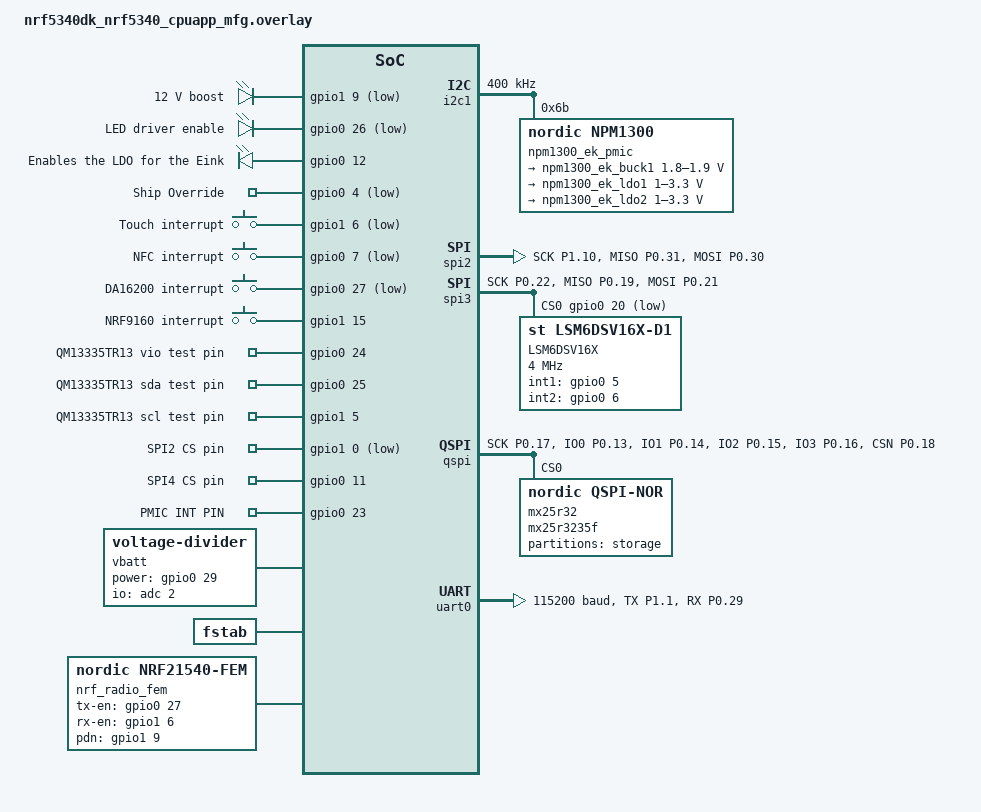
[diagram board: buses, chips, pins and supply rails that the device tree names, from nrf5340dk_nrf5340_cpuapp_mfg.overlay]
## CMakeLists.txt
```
# Copyright (c) 2024, Nestle Purina Pet Care. All rights reserved
# SPDX-License-Identifier: LicenseRef-Proprietary

cmake_minimum_required(VERSION 3.20.0)

set(DTC_OVERLAY_FILE ./nrf5340dk_nrf5340_cpuapp_mfg.overlay)

add_compile_options(-Werror)

get_filename_component(APPLICATION_PROJECT_DIR
    ${CMAKE_CURRENT_LIST_DIR}/..
    ABSOLUTE
)

list(APPEND CONF_FILE prj.conf)

if (EXISTS prj.local.conf)
  list(APPEND CONF_FILE prj.local.conf)
endif()
if (CONFIG_RELEASE_BUILD)
  message("Doing a RELEASE build")
  list(APPEND CONF_FILE prj.release.conf)
endif()
message("CONF_FILE=${CONF_FILE}")
list(APPEND BOARD_ROOT ${APPLICATION_PROJECT_DIR})
list(APPEND DTS_ROOT ${APPLICATION_PROJECT_DIR})
message("ADDING BOARD_ROOT=${BOARD_ROOT}")
message("ADDING DTS_ROOT=${DTS_ROOT}")

list(APPEND EXTRA_ZEPHYR_MODULES ${APPLICATION_PROJECT_DIR}/lib/drivers)
message("MODULES=${EXTRA_ZEPHYR_MODULES}")

find_package(Zephyr REQUIRED HINTS $ENV{ZEPHYR_BASE})


project(commercial_collar VERSION 1.21.0)

zephyr_library_include_directories(src/include)
target_sources(app PRIVATE src/main.c src/pm_shell.c src/shell.c src/nrf53_upgrade.c src/self_check.c src/d1_time.c)
target_sources_ifdef(CONFIG_RELEASE_BUILD app PRIVATE src/login.c)
add_subdirectory(../c_modules/fqueue ./build/c_modules/fqueue)
add_subdirectory(../c_modules/pmic ./build/c_modules/pmic)
add_subdirectory(../c_modules/modem ./build/c_modules/modem)
add_subdirectory(src/wifi)
add_subdirectory(../c_modules/watchdog ./build/c_modules/watchdog)
add_subdirectory(src/ble)
add_subdirectory(../c_modules/imu ./build/c_modules/imu)
add_subdirectory(../c_modules/json ./build/c_modules/json)
add_subdirectory(../c_modules/tde ./build/c_modules/tde)
add_subdirectory(../c_modules/uicr ./build/c_modules/uicr)
add_subdirectory(../c_modules/utils ./build/c_modules/utils)
add_subdirectory(src/storage)
add_subdirectory(src/ml)
add_subdirectory(src/comm_mgr)
add_subdirectory(src/zbus)


add_definitions(-DAPP_VERSION_MAJOR_CMAKE=${PROJECT_VERSION_MAJOR})
add_definitions(-DAPP_VERSION_MINOR_CMAKE=${PROJECT_VERSION_MINOR})
add_definitions(-DAPP_VERSION_PATCH_CMAKE=${PROJECT_VERSION_PATCH})

# Get the current Git commit hash
execute_process(
  COMMAND git rev-parse --short=6 HEAD
  WORKING_DIRECTORY ${CMAKE_SOURCE_DIR}
  OUTPUT_VARIABLE GIT_HASH
  OUTPUT_STRIP_TRAILING_WHITESPACE
)

# Check if the repository is dirty
execute_process(
  COMMAND git status --porcelain -uno
  WORKING_DIRECTORY ${CMAKE_SOURCE_DIR}
  OUTPUT_VARIABLE GIT_DIRTY_STATUS
  OUTPUT_STRIP_TRAILING_WHITESPACE
)

# Append '-dirty' to the version string if the repository is dirty
if(NOT GIT_DIRTY_STATUS STREQUAL "")
  set(GIT_HASH "${GIT_HASH}-dirty")
endif()

add_definitions(-DGIT_HASH_CMAKE=\"${GIT_HASH}\")

# Get the build machine name
execute_process(
  COMMAND hostname
  OUTPUT_VARIABLE BUILD_MACHINE
  OUTPUT_STRIP_TRAILING_WHITESPACE
)

# Get the build date
string(TIMESTAMP BUILD_DATE "%Y-%m-%d %H:%M:%S")

# Pass the variables to the code
add_definitions(-DBUILD_MACHINE_CMAKE=\"${BUILD_MACHINE}\")
add_definitions(-DBUILD_DATE_CMAKE=\"${BUILD_DATE}\")
```

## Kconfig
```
# Copyright (c) 2024, Nestle Purina Pet Care. All rights reserved
# SPDX-License-Identifier: LicenseRef-Proprietary
#
# This file is the application Kconfig entry point. All application Kconfig
# options can be defined here or included via other application Kconfig files.
# You can browse these options using the west targets menuconfig (terminal) or
# guiconfig (GUI).

menu "Zephyr"
source "Kconfig.zephyr"
endmenu

module = bringup
module-str = bringup
source "subsys/logging/Kconfig.template.log_config"

# FIXME: we occasionally get a stack overflow on reboot.
# This param is not configurable in prj.conf but we can change it here.
config BT_LONG_WQ_STACK_SIZE
    int "Long workqueue stack size"
    default 2000

config ENABLE_RFFE_TO_QM13335TR13
    bool "enable RFFE communication to QM13335TR13"
    default false
    help
        Enable RFFE communication to QM13335TR13

config CULVERT_LOCATION_DEMO_MODE
    bool "Send battery and SSIDS to the nrf9160"
    default false
    help
        Send battery and SSIDS to the nrf9160

config IOT_BROKER_HOST_NAME
	string "AWS IoT Broker Host Name"
	default "a3hoon64f0fuap-ats.iot.eu-west-1.amazonaws.com"
	help
        The AWS IoT broker host name, defaults to staging

config IOT_MQTT_BRAND_ID
	int "purina assigned brand id"
	default 35

config IOT_MQTT_REGION_ID
	string "purina assigned region id"
	default "US"

config IOT_MAX_TOPIC_LENGTH
	int "Maximum topic length"
	default 43

config IOT_MAX_TOPIC_NUM
	int "Maximum number of topics"
	default 9

config MODEM_GNSS_LNA_COMMAND
    string "Modem GNSS LNA command"
    default "at%XCOEX0=1,1,1570,1580"
    help
        Modem GNSS LNA command

config IOT_SEND_TELEMETRY_TIMEOUT
    int "IOT Send Telemetry Timeout"
    default 300
    help
        IOT Send Telemetry Timeout

config IOT_ENABLE_SEND_TELEMETRY
    int "IOT Send Telemetry on boot"
    default 0
    help
        IOT Send Telemetry enable

config MAX_MQTT_MSG_SIZE
    int "Max MQTT message size"
    default 1980

config RUN_FREE_MEMORY_CHECK
    int "memory check every 10 sec"
    default 0

config SPI_SEND_BUFFER_MAX_SIZE
    int "SPI send buffer max size"
    default 6144

config SPI_RECEIVE_BUFFER_MAX_SIZE
    int "SPI receive buffer max size"
    default 3072

config ENABLE_FOTA_ON_USB_CONNECTION
    int "Enable FOTA on USB connection"
    default 1

config REBOOT_ON_USB_CONNECT_TIME_IN_SECONDS
    int "Reboot on USB connect time"
    default 30

config MAX_GPS_DATA_POINTS
    int "Max GPS data points"
    default 32

config GPS_DATA_PERIOD
    int "GPS data period"
    default 5

config GPS_ENABLED_ON_BOOT
    int "GPS enabled on boot"
    default 0

config MAX_TELEMETRY_LOG_MSG_SIZE
    int "Max telemetry log size (per message)"
    default 256

config MAX_TELEMETRY_LOG_FIFO_SIZE
    int "Max telemetry log fifo count"
    default 32

config MAX_OPERATIONAL_BATTERY_TEMP
    int "go into shiphold if temp is above this value. (value is divided by 10 in code)"
    default 590

config MIN_OPERATIONAL_BATTERY_TEMP
    int "go into shiphold if temp is below this value. (value is divided by 10 in code)"
    default -100

config MAX_ALERT_BATTERY_TEMP
    int "Issue alert if temp is above this value. (In tenths of a degree C)"
    default 330

config MIN_ALERT_BATTERY_TEMP
    int "Issue alert if temp is below this value. (In tenths of a degree C)"
    default 0


config MIN_VOLTAGE_FOR_9160
    int "Minimum voltage for 9160 (value is divided by 10 in code)"
    default 33

config MIN_VOLTAGE_FOR_5340
    int "Minimum voltage for 5340 (value is divided by 10 in code)"
    default 30

config NRF9160_ENABLE_ON_BOOT
    int "NRF9160 enabled on boot"
    default 0

config IOT_S_NORM_DEFAULT
    int "Period between SSID scans in seconds in normal mode"
    default 300
    help
        Period between SSID scans in seconds in normal mode

config IOT_S_FMD_DEFAULT
    int "Period between SSID scans in seconds in FMD mode"
    default 30
    help
        Period between SSID scans in seconds in FMD mode

config IOT_T_NORM_DEFAULT
    int "Number of SSID scan periods before sending Telemetry in normal mode"
    default 1
    help
        Number of SSID scan periods before sending Telemetry in normal mode

config IOT_T_FMD_DEFAULT
    int "Number of SSID scan periods before sending Telemetry in FMD mode"
    default 1
    help
        Number of SSID scan periods before sending Telemetry in FMD mode

config IOT_REC_VAR_DEFAULT
    int "The number of seconds between attampts to reconnect to wifi"
    default 300
    help
        The number of seconds between attampts to reconnect to wifi

config IOT_Q_VAR_DEFAULT
    int "The number of seconds between attampts to send any unsent mqtt msgs"
    default 2
    help
        The number of seconds between attampts to send any unsent mqtt msgs

config WIFI_AFTER_SLEEP_WAIT_DEFAULT
    int "The number of milliseconds after we sleep the DA do we wait for it to fall asleep"
    default 500
    help
        The number of milliseconds after we sleep the DA do we wait for it to fall asleep

config IOT_DISABLE_S_WORK_DEFAULT
    int "disable the CommMgr scan for SSID, send Telemetry, Do Wifi reconnect on boot"
    default 0
    help
        "disable the CommMgr scan for SSID, send Telemetry, Do Wifi reconnect on boot

config IOT_DISABLE_Q_WORK_DEFAULT
    int "disable the CommMgr sending of queued MQTT messages at boot"
    default 0
    help
        "disable the CommMgr scan for SSID, send Telemetry, Do Wifi reconnect on boot

config RADIO_MGR_ENABLED_ON_BOOT
    int "Radio Mgr enabled on boot"
    default 1

config RADIO_MGR_SLEEP_ENABLED
    int "Radio Mgr use dpm/sleep"
    default 1

config DEBUG_WIFI_HEAP
    int "Show alloc and free for Wifi Heap"
    default 0

config DISABLE_UART_TIME
    int "Disable UART after a period"
    default 30
    help
        Automatically disable the console after n seconds

config ML_ENABLE
    bool "Enable ML"
    default y
    help
      Enable the ML module and suport code.
if ML_ENABLE
config ML_TEST
    bool "Include ML test vectors"
    help
      Include the (large) test vectors for ML and the ml test command

config ML_CAPTURE_IMU_DATA
    bool "Record raw imu data as it is fed to ML"
    help
      Create 1 file per minute with raw imu data
endif

config RELEASE_BUILD
    bool "Production Release"
    help
      Set to true to disable various developer features and to enable additonal security

config LTE_FOTA_CHUNK_SIZE_MAX
    int "Maximum size of FOTA chunk"
    default 1024
    help
      Maximum size of FOTA chunk.

if RELEASE_BUILD
config RELEASE_CONSOLE
    bool "Permit use of the console in release builds"
endif

config MIN_BFREE
    int "Minimum number of blocks to maintain in LFS"
    default 512

module = D1_WIFI
module-str = d1_wifi
source "subsys/logging/Kconfig.template.log_config"

module = WIFI_SPI
module-str = wifi_spi
source "subsys/logging/Kconfig.template.log_config"

module = BLE
module-str = ble_spi
source "subsys/logging/Kconfig.template.log_config"

module = PMIC
module-str = pmic
source "subsys/logging/Kconfig.template.log_config"

module = STORAGE
module-str = storage
source "subsys/logging/Kconfig.template.log_config"

module = TRACKER_SERVICE
module-str = tracker_service
source "subsys/logging/Kconfig.template.log_config"

module = COMM_MGR
module-str = comm_mgr
source "subsys/logging/Kconfig.template.log_config"

module = RADIO_MGR
module-str = radio_mgr
source "subsys/logging/Kconfig.template.log_config"

module = NET_MGR
module-str = net_mgr
source "subsys/logging/Kconfig.template.log_config"

module = WIFI_AT
module-str = wifi_at
source "subsys/logging/Kconfig.template.log_config"

module = SPI_MODEM
module-str = spi_modem
source "subsys/logging/Kconfig.template.log_config"

module = MODEM
module-str = modem
source "subsys/logging/Kconfig.template.log_config"

module = LOG_TELEM
module-str = log_telem
source "subsys/logging/Kconfig.template.log_config"

module = D1_JSON
module-str = d1_json
source "subsys/logging/Kconfig.template.log_config"
```

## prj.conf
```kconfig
CONFIG_SENSOR=y
CONFIG_GPIO=y
CONFIG_LOG=y
CONFIG_LOG_MODE_IMMEDIATE=y

CONFIG_ZCBOR=y
CONFIG_ZCBOR_CANONICAL=y

CONFIG_ZBUS=y
CONFIG_ZBUS_RUNTIME_OBSERVERS=y

CONFIG_SERIAL=y
CONFIG_UART_INTERRUPT_DRIVEN=y
CONFIG_UART_ASYNC_API=y
CONFIG_UART_NRFX=y
CONFIG_PRINTK=y
CONFIG_MAIN_STACK_SIZE=32768
CONFIG_SHELL_STACK_SIZE=8192
CONFIG_SYSTEM_WORKQUEUE_STACK_SIZE=8192
CONFIG_POSIX_CLOCK=y

CONFIG_SETTINGS=y
CONFIG_SETTINGS_SHELL=y
CONFIG_SETTINGS_LOG_LEVEL_DBG=y
CONFIG_SETTINGS_RUNTIME=y
CONFIG_SETTINGS_FILE_PATH="/lfs1/settings/run"

CONFIG_PM_DEVICE=y
CONFIG_PM_DEVICE_RUNTIME=y

## SHELL
CONFIG_SHELL=y
CONFIG_LED_SHELL=y
CONFIG_FLASH_SHELL=y
CONFIG_GPIO_SHELL=y
CONFIG_SHELL_WILDCARD=n
CONFIG_SHELL_STACK_SIZE=8192
#CONFIG_LOG_BUFFER_SIZE=8192
#CONFIG_LOG_PROCESS_THREAD_STACK_SIZE=4096
#CONFIG_LOG_PROCESS_THREAD=y
CONFIG_SHELL_CMDS_RESIZE=y
CONFIG_SHELL_CMD_BUFF_SIZE=2048
CONFIG_SHELL_BACKEND_SERIAL_RX_RING_BUFFER_SIZE=2048

## NPM1300
CONFIG_FLASH_SHELL=y
CONFIG_GPIO_SHELL=y


## NPM1300
CONFIG_LED=y
CONFIG_REGULATOR=y
CONFIG_REGULATOR_NPM1300=y
CONFIG_REGULATOR=y
CONFIG_REGULATOR_NPM1300=y
CONFIG_LED_NPM1300=y
CONFIG_GPIO_NPM1300=y
CONFIG_NPM1300_CHARGER=y
CONFIG_NRF_FUEL_GAUGE=y
CONFIG_MFD_NPM1300=y

# Flash
CONFIG_FLASH=y
CONFIG_FLASH_PAGE_LAYOUT=y
CONFIG_FLASH_SHELL_TEST_COMMANDS=y
CONFIG_FLASH_MAP=y
CONFIG_FLASH_MAP_SHELL=y
CONFIG_FLASH_MAP_LABELS=y
CONFIG_NORDIC_QSPI_NOR=y
CONFIG_MPU_ALLOW_FLASH_WRITE=y

# Filesystem
CONFIG_FILE_SYSTEM=y
CONFIG_FILE_SYSTEM_LITTLEFS=y
CONFIG_FILE_SYSTEM_SHELL=y
CONFIG_FILE_SYSTEM_SHELL_TEST_COMMANDS=y
# use 3MB of external flash for file system (other 1MB is for DFU slot)
CONFIG_PM_PARTITION_SIZE_LITTLEFS=0x300000
CONFIG_PM_PARTITION_REGION_LITTLEFS_EXTERNAL=y

CONFIG_SPI=n

CONFIG_NRFX_SPIM4=y

## watchdog
CONFIG_WDT_LOG_LEVEL_DBG=y
CONFIG_WATCHDOG=y
CONFIG_WDT_NPM1300=y
#CONFIG_WDT_NPM1300_TIMEOUT_IN_MS=60000
CONFIG_COUNTER=y

#CONFIG_USE_UART_TO_NRF9160=y

# IMU
CONFIG_LSM6DSV16X_D1=y
CONFIG_LSM6DSV16X_D1_TRIGGER_OWN_THREAD=y
CONFIG_LSM6DSV16X_D1_THREAD_STACK_SIZE=4096
CONFIG_LSM6DSV16X_D1_ENABLE_MOTION=y

CONFIG_CJSON_LIB=y

## Bringup and Mfg test
## might require hardware mods, do not use unless you know what you are doing
#CONFIG_ENABLE_RFFE_TO_QM13335TR13=y

CONFIG_WIFI_SPI_LOG_LEVEL_ERR=y

# BLE
CONFIG_BT=y
CONFIG_BT_SMP=y # required for .security_changed callback
CONFIG_BT_SIGNING=y
CONFIG_BT_PERIPHERAL=y
CONFIG_BT_BAS=y
CONFIG_BT_DEVICE_NAME_DYNAMIC=y
CONFIG_BT_RX_STACK_SIZE=4096
CONFIG_BT_BUF_ACL_RX_SIZE=251
CONFIG_BT_ATT_PREPARE_COUNT=2
CONFIG_BT_CONN_TX_MAX=10
CONFIG_BT_L2CAP_TX_BUF_COUNT=10
CONFIG_BT_L2CAP_TX_MTU=247
CONFIG_BT_BUF_ACL_RX_SIZE=251
CONFIG_BT_L2CAP_DYNAMIC_CHANNEL=y
CONFIG_BT_KEYS_OVERWRITE_OLDEST=y
CONFIG_BT_SETTINGS=y
CONFIG_BT_SHELL=y
CONFIG_BT_MAX_PAIRED=10
# 4s supervisory timeout, max recommended if iOS
CONFIG_BT_PERIPHERAL_PREF_TIMEOUT=400

# tweak some BT configs
CONFIG_BT_ATT_ENFORCE_FLOW=n
CONFIG_BT_ATT_PREPARE_COUNT=10
CONFIG_BT_GATT_AUTO_SEC_REQ=n
CONFIG_BT_GATT_CACHING=n
CONFIG_BT_GATT_ENFORCE_SUBSCRIPTION=n

# MCUBoot
CONFIG_BOOTLOADER_MCUBOOT=y
CONFIG_MCUBOOT_GENERATE_UNSIGNED_IMAGE=y
CONFIG_MCUBOOT_GENERATE_CONFIRMED_IMAGE=y

# NOTE: we put DFU secondary slot in QSPI flash to save code space for app
CONFIG_PM_EXTERNAL_FLASH_MCUBOOT_SECONDARY=y
CONFIG_ADD_MCUBOOT_MEDIATE_SIM_FLASH_DTS=n

# DFU - this enables all required SMP handlers and SMP BT reassembly feature
CONFIG_NCS_SAMPLE_MCUMGR_BT_OTA_DFU=y
# LFS access - this allows us to download files from the device manager app
CONFIG_MCUMGR_GRP_FS=y
CONFIG_MCUMGR_GRP_FS_MAX_FILE_SIZE_4GB=y

# Network core upgrades
CONFIG_NRF53_UPGRADE_NETWORK_CORE=y
CONFIG_DFU_MULTI_IMAGE_PACKAGE_BUILD=y
CONFIG_DFU_MULTI_IMAGE_PACKAGE_NET=y

# enable c++ support for ML library
CONFIG_CPLUSPLUS=y
CONFIG_LIB_CPLUSPLUS=y

#FIXME: enabling this breaks '#include <cJSON.h>', need to figure this out
#CONFIG_NEWLIB_LIBC=y
CONFIG_FPU=y

# used to generate Nonce
CONFIG_ENTROPY_GENERATOR=y
CONFIG_ENTROPY_DEVICE_RANDOM_GENERATOR=y

CONFIG_BT_HCI_CORE_LOG_LEVEL_ERR=y
CONFIG_FS_LOG_LEVEL_OFF=y


CONFIG_BASE64=y
CONFIG_ENTROPY_DEVICE_RANDOM_GENERATOR=y
CONFIG_LOG_TIMESTAMP_64BIT=y
CONFIG_MCUMGR_TRANSPORT_WORKQUEUE_STACK_SIZE=5120

# this seems like a ridiculously large value, got me past the CJson issue, need to reduce to something reasonable
CONFIG_HEAP_MEM_POOL_SIZE=49152

CONFIG_MQTT_KEEPALIVE=600

CONFIG_ENABLE_FOTA_ON_USB_CONNECTION=1

###############       DEBUG STUFF - TURN OFF FOR PRODUCTION/DEMO       #####################
# Changes to the CONFIG values that are local and not checked in can now be stored in prj.local.conf
# This file will not be checked in but will be merged into the main prj.conf at make ime
```

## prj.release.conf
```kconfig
CONFIG_RELEASE_BUILD=y
CONFIG_SHELL_CMD_ROOT="login"
#CONFIG_SHELL_PROMPT_UART="ccollar:~$ "
CONFIG_DEVMEM_SHELL=n
CONFIG_FLASH_MAP_SHELL=n
CONFIG_DEVICE_SHELL=n
CONFIG_FILE_SYSTEM_SHELL=n
CONFIG_FILE_SYSTEM_SHELL_TEST_COMMANDS=n
CONFIG_GPIO_SHELL=n
CONFIG_I2C_SHELL=n
```

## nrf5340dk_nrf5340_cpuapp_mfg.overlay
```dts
/*
 * Copyright (c) 2024, Nestle Purina Pet Care. All rights reserved
 *
 * SPDX-License-Identifier: LicenseRef-BSD-5-Clause-Nordic
 */

 / {

    leds {
        compatible = "gpio-leds";
        uwbreset: uwb_reset_1 {
               gpios = <&gpio1 9 GPIO_ACTIVE_LOW>;
               label = "12 V boost";
        };
        ledenable: led_enable_1 {
               gpios = <&gpio0 26 GPIO_ACTIVE_LOW>;
               label = "LED driver enable";
        };
        p3v3einken: p3v3_eink_en1 {
               gpios = <&gpio0 12 GPIO_ACTIVE_HIGH>;
               label = "Enables the LDO for the Eink";
        };
    };

    buttons {
        compatible = "gpio-keys";

        override: force_login {
            gpios = <&gpio0 4 (GPIO_PULL_UP | GPIO_ACTIVE_LOW)>;
            label = "Ship Override";
        };

        touchinterrupt: touch_interrupt1 {
            gpios = <&gpio1 6 (GPIO_PULL_UP |GPIO_ACTIVE_LOW)>;
            label = "Touch interrupt";
        };

        nfcinterrupt: nfc_interrupt1 {
               gpios = <&gpio0 7 (GPIO_PULL_UP | GPIO_ACTIVE_LOW)>;
               label = "NFC interrupt";
        };

        dainterrupt: dialog_interrupt {
               gpios = <&gpio0 27 (GPIO_PULL_UP | GPIO_ACTIVE_LOW)>;
               label = "DA16200 interrupt";
        };

        modemdataready: modem_data_ready {
            gpios = <&gpio1 15 (GPIO_PULL_DOWN | GPIO_ACTIVE_HIGH)>;
            label = "NRF9160 interrupt";
        };

        antennavio:  antenna_vio {
            gpios = <&gpio0 24 (GPIO_ACTIVE_HIGH)>;
            label = "QM13335TR13 vio test pin";
        };

        antennasda:  antenna_sda {
            gpios = <&gpio0 25 (GPIO_ACTIVE_HIGH)>;
            label = "QM13335TR13 sda test pin";
        };

        antennascl:  antenna_scl {
            gpios = <&gpio1 5 (GPIO_ACTIVE_HIGH)>;
            label = "QM13335TR13 scl test pin";
        };

	spi2cs:  spi2_cs {
		gpios = <&gpio1 0 (GPIO_ACTIVE_LOW)>;
		label = "SPI2 CS pin";
	};

        spi4cs:  spi4_cs {
            gpios = <&gpio0 11 (GPIO_ACTIVE_HIGH)>;
            label = "SPI4 CS pin";
        };

        pmicInt:  pmic_int {
            gpios = <&gpio0 23 (GPIO_ACTIVE_HIGH)>;
            label = "PMIC INT PIN";
        };
    };

    vbatt {
          compatible = "voltage-divider";
          io-channels = <&adc 2>;
          output-ohms = <49900>;
          full-ohms = <(100000 + 49900)>;
          power-gpios = <&gpio0 29 GPIO_ACTIVE_HIGH>;
    };

    aliases {
        i2c1 = &i2c1;
        ledenable = &ledenable;
        touchinterrupt = &touchinterrupt;
        nfcinterrupt = &nfcinterrupt;
        p3v3einken = &p3v3einken;
        uwbreset = &uwbreset;
        dainterrupt = &dainterrupt;
        spi-flash0 = &mx25r32;
        modemuart = &uart1;
        spi2cs = &spi2cs;
        spi4cs = &spi4cs;
        pmicint = &pmicInt;
        imu = &lsm6dsv16x;
    };
};

&pinctrl {

    uart0_default: uart0_default {
                group1 {
                    psels = <NRF_PSEL(UART_TX, 1, 1)>;
                };
                group2 {
                        psels = <NRF_PSEL(UART_RX, 0, 29)>;
                        bias-pull-up;
                };
                /delete-property/ hw-flow-control;
        };

    uart0_sleep: uart0_sleep {
            group1 {
                    psels = <NRF_PSEL(UART_TX, 1, 1)>,
                            <NRF_PSEL(UART_RX, 0, 29)>;
                    low-power-enable;
                    /delete-property/ hw-flow-control;
            };
    };

    uart_over_spi_to_9160_default: uart_over_spi_to_9160_default {
            group1 {
                    psels = <NRF_PSEL(UART_TX, 0, 9)>;
            };
            group2 {
                    psels = <NRF_PSEL(UART_RX, 0, 8)>;
                    bias-pull-up;
            };
            /delete-property/ hw-flow-control;
    };

    uart_over_spi_to_9160_sleep: uart_over_spi_to_9160_sleep {
            group1 {
                    psels = <NRF_PSEL(UART_TX, 0, 9)>,
                            <NRF_PSEL(UART_RX, 0, 8)>;
                    low-power-enable;
                    /delete-property/ hw-flow-control;
            };
    };

    uart_over_spi_to_wifi_default: uart_over_spi_to_wifi_default {
        group1 {
                psels = <NRF_PSEL(UART_TX, 0, 30)>;
        };
        group2 {
                psels = <NRF_PSEL(UART_RX, 0, 31)>;
                bias-pull-up;
        };
        /delete-property/ hw-flow-control;
    };

    uart_over_spi_to_wifi_sleep: uart_over_spi_to_wifi_sleep {
            group1 {
                    psels = <NRF_PSEL(UART_TX, 0, 30)>,
                            <NRF_PSEL(UART_RX, 0, 31)>;
                    low-power-enable;
                    /delete-property/ hw-flow-control;
            };
    };

    i2c1_default: i2c1_default {
        group1 {
            psels = <NRF_PSEL(TWIM_SDA, 1, 3)>,
                <NRF_PSEL(TWIM_SCL, 1, 2)>;
        };
    };

    i2c1_sleep: i2c1_sleep {
        group1 {
            psels = <NRF_PSEL(TWIM_SDA, 1, 3)>,
                <NRF_PSEL(TWIM_SCL, 1, 2)>;
            low-power-enable;
        };
    };

    spi2_default: spi2_default {
	group1 {
	    psels = <NRF_PSEL(SPIM_SCK, 1, 10)>,
		<NRF_PSEL(SPIM_MISO, 0, 31)>,
		<NRF_PSEL(SPIM_MOSI, 0, 30)>;
	};
    };

    spi2_sleep: spi2_sleep {
	group1 {
	    psels = <NRF_PSEL(SPIM_SCK, 1, 10)>,
		<NRF_PSEL(SPIM_MISO, 0, 31)>,
		<NRF_PSEL(SPIM_MOSI, 0, 30)>;
	    low-power-enable;
	};
    };

    spi_imu_default: spi_imu_default {
        group1 {
            psels = <NRF_PSEL(SPIM_SCK, 0, 22)>,
                <NRF_PSEL(SPIM_MISO, 0, 19)>,
                <NRF_PSEL(SPIM_MOSI, 0, 21)>;
        };
    };

    spi_imu_sleep: spi_imu_sleep {
        group1 {
            psels = <NRF_PSEL(SPIM_SCK, 0, 22)>,
                <NRF_PSEL(SPIM_MISO, 0, 19)>,
                <NRF_PSEL(SPIM_MOSI, 0, 21)>;
            low-power-enable;
        };
    };

    spi4_default: spi4_default {
        group1 {
                psels = <NRF_PSEL(SPIM_SCK, 0, 8)>,
                        <NRF_PSEL(SPIM_MISO, 1, 13)>,
                        <NRF_PSEL(SPIM_MOSI, 0, 9)>,
                        <NRF_PSEL(SPIS_CSN, 0, 11)>;
        };
    };

    spi4_sleep: spi4_sleep {
        group1 {
                psels = <NRF_PSEL(SPIM_SCK, 0, 8)>,
                        <NRF_PSEL(SPIM_MISO, 1, 13)>,
                        <NRF_PSEL(SPIM_MOSI, 0, 9)>,
                        <NRF_PSEL(SPIS_CSN, 0, 11)>;
                low-power-enable;
        };
    };

    qspi_default: qspi_default {
        group1 {
            psels = <NRF_PSEL(QSPI_SCK, 0, 17)>,
                <NRF_PSEL(QSPI_IO0, 0, 13)>,
                <NRF_PSEL(QSPI_IO1, 0, 14)>,
                <NRF_PSEL(QSPI_IO2, 0, 15)>,
                <NRF_PSEL(QSPI_IO3, 0, 16)>,
                <NRF_PSEL(QSPI_CSN, 0, 18)>;
            nordic,drive-mode = <NRF_DRIVE_H0H1>;
        };
    };

    qspi_sleep: qspi_sleep {
        group1 {
            psels = <NRF_PSEL(QSPI_SCK, 0, 17)>,
                <NRF_PSEL(QSPI_IO0, 0, 13)>,
                <NRF_PSEL(QSPI_IO1, 0, 14)>,
                <NRF_PSEL(QSPI_IO2, 0, 15)>,
                <NRF_PSEL(QSPI_IO3, 0, 16)>;
            low-power-enable;
        };
        group2 {
            psels = <NRF_PSEL(QSPI_CSN, 0, 18)>;
            low-power-enable;
            bias-pull-up;
        };
    };
};

&i2c1 {
    clock-frequency = <400000>;

    npm1300_ek_pmic: pmic@6b {
        compatible = "nordic,npm1300";
        reg = <0x6b>;

        npm1300_ek_gpio: gpio-controller {
            compatible = "nordic,npm1300-gpio";
            gpio-controller;
            #gpio-cells = <2>;
            ngpios = <5>;
        };

        npm1300_ek_regulators: regulators {
            compatible = "nordic,npm1300-regulator";

            /* limits are set to min/max allowed values */
            npm1300_ek_buck1: BUCK1 {
                regulator-min-microvolt = <1800000>;
                regulator-max-microvolt = <1900000>;
                regulator-init-microvolt = <1900000>;
                /* set to 1.9V for boot, will be set to 1.8V by software.  Workaround for NPM1300 Errata #27 */
            };
/*
            npm1300_ek_buck2: BUCK2 {
                regulator-min-microvolt = <1000000>;
                regulator-max-microvolt = <3300000>;
                regulator-init-microvolt = <1800000>;
                retention-microvolt = <2500000>;
                enable-gpios = <&npm1300_ek_gpio 1 GPIO_ACTIVE_LOW>;
                retention-gpios = <&npm1300_ek_gpio 2 GPIO_ACTIVE_HIGH>;
                pwm-gpios = <&npm1300_ek_gpio 2 GPIO_ACTIVE_LOW>;
            };
*/
            npm1300_ek_ldo1: LDO1 {
                regulator-min-microvolt = <1000000>;
                regulator-max-microvolt = <3300000>;
                enable-gpios = <&npm1300_ek_gpio 2 GPIO_ACTIVE_LOW>;
            };

            npm1300_ek_ldo2: LDO2 {
                regulator-min-microvolt = <1000000>;
                regulator-max-microvolt = <3300000>;
                enable-gpios = <&npm1300_ek_gpio 2 GPIO_ACTIVE_LOW>;
            };
        };

        npm1300_ek_charger: charger {
            compatible = "nordic,npm1300-charger";
            term-microvolt = <4450000>;
            term-warm-microvolt = <4450000>;
            current-microamp = <520000>;
            dischg-limit-microamp = <1000000>;  // 270000 min
            vbus-limit-microamp = <700000>;
            thermistor-ohms = <10000>;
            thermistor-beta = <3435>;
            charging-enable;
        };

        npm1300_ek_leds: pmicleds {
            compatible = "nordic,npm1300-led";
            nordic,led0-mode = "host";
            nordic,led1-mode = "host";
            nordic,led2-mode = "host";
        };

        npm1300_wdt: watchdog {
            compatible = "nordic,npm1300-wdt";
            /* nordic_npm1300wdt */
        };
    };
};

&uicr {
    nfct-pins-as-gpios;
};

// One of these is needed communicating to the DA16200.
// Uart is deprecated
&spi2 {
	compatible = "nordic,nrf-spim";
    status = "okay";
	pinctrl-0 = <&spi2_default>;
	pinctrl-1 = <&spi2_sleep>;
	pinctrl-names = "default", "sleep";
	cs-gpios = <&gpio1 0 GPIO_ACTIVE_LOW>;
};
&uart2 {
    current-speed = <115200>;
    status = "disabled";
    pinctrl-0 = <&uart_over_spi_to_wifi_default>;
    pinctrl-1 = <&uart_over_spi_to_wifi_sleep>;
    pinctrl-names = "default", "sleep";
};



&spi3 {
    compatible = "nordic,nrf-spim";
    status = "okay";
    pinctrl-0 = <&spi_imu_default>;
    pinctrl-1 = <&spi_imu_sleep>;
    pinctrl-names = "default", "sleep";

    label = "SPI_4";
    cs-gpios = <&gpio0 20 GPIO_ACTIVE_LOW>;

    lsm6dsv16x: lsm6dsv16x@0 {
        compatible = "st,lsm6dsv16x-d1";
        status = "okay";
        reg = <0>;
        spi-max-frequency = <4000000>;
        int1-gpios = <&gpio0 5 GPIO_ACTIVE_HIGH>;
        int2-gpios = <&gpio0 6 GPIO_ACTIVE_HIGH>;
        drdy-pin = <1>;
        drdy-pulsed;
        label = "LSM6DSV16X";
        gyro-range = <2>; // LSM6DSV16X_DT_FS_500DPS
        accel-range = <1>; // LSM6DSV16X_DT_FS_4G
    };
};

&mx25r64 {
	status = "disabled";
};

&qspi {
    status = "okay";
    pinctrl-0 = <&qspi_default>;
    pinctrl-1 = <&qspi_sleep>;
    pinctrl-names = "default", "sleep";
    mx25r32: mx25r3235f@0 {
        compatible = "nordic,qspi-nor";
        reg = <0>;
        /* MX25R64 supports only pp and pp4io */
        writeoc = "pp4io";
        /* MX25R64 supports all readoc options */
        readoc = "read4io";
        sck-frequency = <8000000>;
        jedec-id = [c2 28 16];
        sfdp-bfp = [
            e5 20 f1 ff  ff ff ff 03  44 eb 08 6b  08 3b 04 bb
            ee ff ff ff  ff ff 00 ff  ff ff 00 ff  0c 20 0f 52
            10 d8 00 ff  23 72 f5 00  82 ed 04 cc  44 83 68 44
            30 b0 30 b0  f7 c4 d5 5c  00 be 29 ff  f0 d0 ff ff
        ];
        size = <33554432>;
	zephyr,pm-device-runtime-auto;
        has-dpd;
        t-enter-dpd = <10000>;
        t-exit-dpd = <35000>;
    };
};

/ {
	chosen {
			// required to use Partition Manager
			nordic,pm-ext-flash = &mx25r32;
	};
};

/delete-node/ &storage_partition;

/ {
        fstab {
                compatible = "zephyr,fstab";
                lfs1: lfs1 {
                        compatible = "zephyr,fstab,littlefs";
                        mount-point = "/lfs1";
                        partition = <&lfs1_part>;
                        automount;
                        read-size = <16>;
                        prog-size = <16>;
                        cache-size = <64>;
                        lookahead-size = <32>;
                        block-cycles = <512>;
                };
        };
};

&mx25r32 {
        partitions {
                compatible = "fixed-partitions";
                #address-cells = <1>;
                #size-cells = <1>;

                lfs1_part: partition@0 {
                        label = "storage";
                        reg = <0x00000000 0x100000>;
                };
        };
};


&uart0 {
    status = "okay";
    current-speed = <115200>;
    pinctrl-0 = <&uart0_default>;
    pinctrl-1 = <&uart0_sleep>;
    pinctrl-names = "default", "sleep";
};



&i2c2 {
    status = "disabled";
};





/ {
    gpio_fwd: nrf-gpio-forwarder {
        compatible = "nordic,nrf-gpio-forwarder";
        status = "disabled";
        uart {
            gpios = <&gpio1 1 0>, <&gpio1 0 0>, <&gpio0 11 0>, <&gpio0 10 0>;
        };
    };
};

/ {
    // This is a workaround for coexistence between DA16200 and nRF5340
    nrf_radio_fem: name_of_fem_node {
        compatible  = "nordic,nrf21540-fem";
        tx-en-gpios = <&gpio0 27 GPIO_ACTIVE_HIGH>;
        rx-en-gpios = <&gpio1 6 GPIO_ACTIVE_HIGH>;
        pdn-gpios   = <&gpio1 9 GPIO_ACTIVE_HIGH>;
        tx-en-settle-time-us = <100>;
    };
};
```

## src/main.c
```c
/* Copyright (c) 2024, Nestle Purina Pet Care. All rights reserved */
/*
 *
 * SPDX-License-Identifier: LicenseRef-Proprietary
 */

#include <stdlib.h>
#include <getopt.h>

#include <zephyr/kernel.h>
#include <zephyr/dfu/mcuboot.h>
#include <zephyr/logging/log.h>
#include <zephyr/shell/shell.h>
#include <zephyr/sys/printk.h>
#include <zephyr/sys/heap_listener.h>

#include "app_version.h"
#include "ble.h"
#include "imu.h"
#include "login.h"
#include "modem.h"
#include "ml.h"
#include "wifi.h"
#include "storage.h"
#include "net_mgr.h"
#include "uicr.h"
#include "watchdog.h"
#include "wi.h"

#include "pmic.h"
#include "fota.h"
extern shadow_doc_t              shadow_doc;
LOG_MODULE_REGISTER(main, LOG_LEVEL_DBG);

#define SLEEP_TIME_MS 100

void fota_timer_check_work_handler(struct k_work *work)
{
    LOG_INF("Checking for FOTA updates");
    fota_update_all_devices();
}

K_WORK_DEFINE(fota_timer_check_work, fota_timer_check_work_handler);
void fota_timer_check_timer_cb(struct k_timer *dummy)
{
    k_work_submit(&fota_timer_check_work);
}
K_TIMER_DEFINE(fota_timer_check_timer, fota_timer_check_timer_cb, NULL);

bool initDevices()
{
    wr_init();
    if (pmic_init(true, true)) {
        LOG_ERR("Error: PMIC initialization failed.\n");
        return false;
    }

    // NB we must init IMU and ML before modem, since the modem will try to start
    // ML as soon as it has a date

    if (imu_init(shadow_doc.mot_det)) {
        LOG_ERR("Error: IMU initialization failed.");
        return false;
    }

    if (ml_init()) {
        LOG_ERR("Error: ML initialization failed.");
        return false;
    }

#if (CONFIG_WATCHDOG)
    if (watchdog_init()) {
        LOG_ERR("Error: watchdog initialization failed.\n");
        return false;
    }
#endif

    if (modem_init()) {
        LOG_ERR("Error: 9160 Modem initialization failed.");
        return false;
    }

    if (wifi_init()) {
        LOG_ERR("Error: Wifi initialization failed.");
        return false;
    }

    if (net_mgr_init()) {
        LOG_ERR("Error: Wifi app initialization failed.");
        return false;
    }

    if (ble_init()) {
        LOG_ERR("Error: BLE initialization failed.");
        return false;
    }

    return true;
}

#ifdef CONFIG_SYS_HEAP_LISTENER

extern struct k_heap _system_heap;
extern struct k_heap log_heap;
extern struct k_heap wifi_heap;
extern struct k_heap mqtt_heap;
extern struct k_heap gps_heap;

static struct
{
    const char    *heap_name;
    struct k_heap *heap;
} heaps[] = { { "system_heap", &_system_heap },
              { "log_heap", &log_heap },
              { "wifi_heap", &wifi_heap },
              { "mqtt_heap", &mqtt_heap },
              { "gps_heap", &gps_heap } };

#define N_HEAP_BLKS 512
struct heap_usage
{
    void   *ptr;
    size_t  bytes;
    k_tid_t caller;
} heap_usage[N_HEAP_BLKS];

void on_heap_alloc(uintptr_t heap_id, void *mem, size_t bytes)
{
    for (int i = 0; i < N_HEAP_BLKS; i++) {
        if (heap_usage[i].ptr == NULL) {
            heap_usage[i].ptr    = mem;
            heap_usage[i].bytes  = bytes;
            heap_usage[i].caller = k_current_get();
            return;
        }
    }
    LOG_INF("Too many allocated blocks to track! alloc %zu at %p", bytes, mem);
}
HEAP_LISTENER_ALLOC_DEFINE(alloc_listener, HEAP_ID_FROM_POINTER(&_system_heap.heap), on_heap_alloc);

void on_heap_free(uintptr_t heap_id, void *mem, size_t bytes)
{
    for (int i = 0; i < N_HEAP_BLKS; i++) {
        if (heap_usage[i].ptr == mem) {
            heap_usage[i].ptr    = NULL;
            heap_usage[i].bytes  = 0;
            heap_usage[i].caller = 0;
            return;
        }
    }
    LOG_INF("Freeing untracked mem @ %p", mem);
}
HEAP_LISTENER_FREE_DEFINE(free_listener, HEAP_ID_FROM_POINTER(&_system_heap.heap), on_heap_free);

static void print_stats(const struct shell *sh, int heap_idx)
{
    int                     err;
    struct sys_memory_stats stats;

    err = sys_heap_runtime_stats_get(&heaps[heap_idx].heap->heap, &stats);
    if (err) {
        shell_error(sh, "Failed to read kernel system heap statistics (err %d)", err);
        return;
    }

    shell_print(
        sh,
        "\n%s (%d%%):",
        heaps[heap_idx].heap_name,
        stats.allocated_bytes * 100 / (stats.free_bytes + stats.allocated_bytes));
    shell_print(sh, "\tfree:           %zu", stats.free_bytes);
    shell_print(sh, "\tallocated:      %zu", stats.allocated_bytes);
    shell_print(sh, "\tmax. allocated: %zu", stats.max_allocated_bytes);
}

void do_print_heap(const struct shell *sh, int argc, char **argv)
{
    for (int i = 0; i < N_HEAP_BLKS; i++) {
        if (heap_usage[i].ptr) {
            shell_print(
                sh,
                "Alloc %zu @ %p from %s",
                heap_usage[i].bytes,
                heap_usage[i].ptr,
                k_thread_name_get(heap_usage[i].caller));
        }
    }
    for (int i = 0; i < ARRAY_SIZE(heaps); i++) {
        print_stats(sh, i);
    }
}

SHELL_CMD_REGISTER(heap, NULL, "Print heap blocks in use", do_print_heap);
#endif

////////////////////////////////////////////////////////////////////////////////////
//
// Main
//
int main(void)
{
    /*
	   Before anything else,
	   mark the currently running firmware image as OK,
	   which will install it permanently after an OTA
	 */
    boot_write_img_confirmed();

#ifdef CONFIG_SYS_HEAP_LISTENER
    heap_listener_register(&alloc_listener);
    heap_listener_register(&free_listener);
#endif

    if (!initDevices()) {
        LOG_ERR("Error: Device initialization failed.\n");
        return -1;
    }

    storage_init();

    LOG_INF("Commercial Collar version %d.%d.%d (%s)", APP_VERSION_MAJOR, APP_VERSION_MINOR, APP_VERSION_PATCH, GIT_HASH);

    LOG_INF("Built on %s by %s", DBUILD_DATE, DBUILD_MACHINE);
#ifdef CONFIG_RELEASE_BUILD
    /*
	 * Protection checks for release firmware
	 * =====================================
	 * IF this unit is still in the factory (shipped flag is not set) then do nothing
	 *    (NB this is a potential vulnerability if you can clear the flag in the backup uicr
	 * copy) ELSE if the debug access port is locked, then disable the uart ELSE present the
	 * user with a login prompt
	 */
    if (IS_ENABLED(CONFIG_RELEASE_BUILD) && uicr_shipping_flag_get()) {
        // unit is ex-factory
        if (uicr_approtect_get() == 0) {
            if (!disable_console()) {
                logout();
            }
        } else {
            logout();
        }
    } else {
        // ensure we are logged in, despite the config settings
        shell_set_root_cmd(NULL);
        if (uicr_shipping_flag_get() == 0) {
            // still in factory ... drop all logging to WRN
            STRUCT_SECTION_FOREACH(shell, sh)
            {
                z_shell_log_backend_enable(sh->log_backend, (void *)sh, LOG_LEVEL_WRN);
            }
        }
    }
#endif

    k_timer_start(&fota_timer_check_timer, K_SECONDS(43200), K_SECONDS(43200));
}
```

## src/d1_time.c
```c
/* Copyright (c) 2024, Nestle Purina Pet Care. All rights reserved */
#include "d1_time.h"
#include <stddef.h>
#include <errno.h>
#include <zephyr/logging/log.h>
#include <zephyr/shell/shell.h>
#include <stdlib.h>
#include <zephyr/sys/timeutil.h>
#if defined(CONFIG_ARCH_POSIX) && defined(CONFIG_EXTERNAL_LIBC)
#include <time.h>
#else
#include <zephyr/posix/time.h>
#endif
#include "imu.h"
#include "ml.h"

LOG_MODULE_REGISTER(d1_time, CONFIG_SPI_MODEM_LOG_LEVEL);
static bool time_set_5340 = false;

bool is_5340_time_set()
{
    return time_set_5340;
}

static int get_y_m_d(struct tm *t, char *date_str)
{
    int   year;
    int   month;
    int   day;
    char *endptr;

    endptr = NULL;
    year   = strtol(date_str, &endptr, 10);
    if ((endptr == date_str) || (*endptr != '-')) {
        return -EINVAL;
    }

    date_str = endptr + 1;

    endptr = NULL;
    month  = strtol(date_str, &endptr, 10);
    if ((endptr == date_str) || (*endptr != '-')) {
        return -EINVAL;
    }

    if ((month < 1) || (month > 12)) {
        LOG_DBG("Invalid month");
        return -EINVAL;
    }

    date_str = endptr + 1;

    endptr = NULL;
    day    = strtol(date_str, &endptr, 10);
    if ((endptr == date_str) || (*endptr != '\0')) {
        return -EINVAL;
    }

    /* Check day against maximum month length */
    if ((day < 1) || (day > 31)) {
        LOG_DBG("Invalid day");
        return -EINVAL;
    }

    t->tm_year = year - 1900;
    t->tm_mon  = month - 1;
    t->tm_mday = day;

    return 0;
}

static int get_h_m_s(struct tm *t, char *time_str)
{
    char *endptr;

    if (*time_str == ':') {
        time_str++;
    } else {
        endptr     = NULL;
        t->tm_hour = strtol(time_str, &endptr, 10);
        if (endptr == time_str) {
            return -EINVAL;
        } else if (*endptr == ':') {
            if ((t->tm_hour < 0) || (t->tm_hour > 23)) {
                LOG_DBG("Invalid hour");
                return -EINVAL;
            }

            time_str = endptr + 1;
        } else {
            return -EINVAL;
        }
    }

    if (*time_str == ':') {
        time_str++;
    } else {
        endptr    = NULL;
        t->tm_min = strtol(time_str, &endptr, 10);
        if (endptr == time_str) {
            return -EINVAL;
        } else if (*endptr == ':') {
            if ((t->tm_min < 0) || (t->tm_min > 59)) {
                LOG_DBG("Invalid minute");
                return -EINVAL;
            }

            time_str = endptr + 1;
        } else {
            return -EINVAL;
        }
    }

    endptr    = NULL;
    t->tm_sec = strtol(time_str, &endptr, 10);
    if ((endptr == time_str) || (*endptr != '\0')) {
        return -EINVAL;
    }

    /* Note range allows for a leap second */
    if ((t->tm_sec < 0) || (t->tm_sec > 60)) {
        LOG_DBG("Invalid second");
        return -EINVAL;
    }

    return 0;
}

////////////////////////////////////////////////////
// modem_set_5340_time()
//  Set the time based on a time/date string in the
// format of:
// shell   [Y-m-d] <H:M:S>
// DA -    +TIME:2024-04-03,18:52:35
// 9160  - 24/04/03,18:52:38-28
//
//  @param time the time string to set
//
//  @return 0 on success, <0 on error
int d1_set_5340_time(char *timeStr, bool force)
{
    if (time_set_5340 && !force) {
        return 0;
    }
    if ((timeStr == NULL) || (strlen(timeStr) < 16)) {
        return -EINVAL;
    }
    struct timespec tp;
    struct tm       tm;
    int             ret;

    char date[16];
    char time[16];
    memset(date, 0, 16);
    memset(time, 0, 16);

    // shell   [Y-m-d] <H:M:S>
    // DA -    +TIME:2024-04-03,18:52:35
    // 9160  - 24/04/03,18:52:38-28

    // test if "+TIME:" is in the string
    // branch on that and change the string so both formats match
    if (strstr(timeStr, "+TIME:") != NULL) {
        // DA format
        // +TIME:2024-04-03,18:52:35
        // 24/04/03,18:52:38-28

        char year[5];
        int  year_i = 0;

        // TODO: this section needs testing, not used yet
        char *colon = strchr(timeStr, ':');
        if (colon == NULL) {
            LOG_DBG("Failed to find colon in |%s|", timeStr);
            return -EINVAL;
        }
        char *comma = strchr(timeStr, ',');
        if (comma == NULL) {
            LOG_DBG("Failed to find comma in time str");
            return -EINVAL;
        }
        strncpy(date, colon + 1, MIN(comma - colon - 1, 15));
        strncpy(time, comma + 1, 8);
        char *dash = strchr(date, '-');
        if (dash == NULL) {
            LOG_DBG("Failed to find dash in |%s|", timeStr);
            return -EINVAL;
        }
        strncpy(year, date, MIN(dash - date, 4));
        year_i = atoi(year);
        if (year_i < 2024) {
            LOG_DBG("Invalid year");
            return -EINVAL;
        }
        LOG_DBG("DA format: %s %s", date, time);
    } else {
        // 9160 format
        // 24/04/03,18:52:38-28
        // +TIME:2024-04-03,18:52:35
        // 24/05/23,20:49:21+00
        char *comma = strchr(timeStr, ',');
        if (comma == NULL) {
            LOG_DBG("Failed to find comma in |%s|", timeStr);
            return -EINVAL;
        }
        char *dash = strchr(timeStr, '-');
        char *plus = strchr(timeStr, '+');
        if (plus != NULL) {
            strncpy(time, comma + 1, MIN(plus - comma - 1, 15));
        } else if (dash != NULL) {
            strncpy(time, comma + 1, MIN(dash - comma - 1, 15));
        } else {
            LOG_DBG("Failed to find dash or plus in |%s|", timeStr);
            return -EINVAL;
        }

        strncat(date, "20", 3);    // 9160 reports 24, so we need to add 20
        strncat(date, timeStr, MIN(comma - timeStr, 14));
        char *tmpPtr = date;
        while ((dash = strchr(tmpPtr, '/'))) {
            *dash  = '-';
            tmpPtr = dash + 1;
        }
        // LOG_DBG("9160 format: %s %s", date, time);
    }

    clock_gettime(CLOCK_REALTIME, &tp);

    ret = get_y_m_d(&tm, date);
    if (ret != 0) {
        LOG_DBG("Failed to get date");
        return -EINVAL;
    }
    ret = get_h_m_s(&tm, time);
    if (ret != 0) {
        LOG_DBG("Failed to get time");
        return -EINVAL;
    }


    tp.tv_sec = timeutil_timegm(&tm);
    if (tp.tv_sec == -1) {
        LOG_WRN("Failed to calculate seconds since Epoch");
        return -EINVAL;
    }
    tp.tv_nsec = 0;

    ret = clock_settime(CLOCK_REALTIME, &tp);
    if (ret != 0) {
        LOG_WRN("Could not set date %d", ret);
        return -EINVAL;
    }

    LOG_WRN("Time set to %s %s", date, time);
    time_set_5340 = true;

#if defined(CONFIG_ML_ENABLE)
    LOG_INF("Starting ML");
    ml_start();
#endif
    // LOG_DBG(
    //     "%d-%02u-%02u "
    //     "%02u:%02u:%02u UTC",
    //     tm.tm_year + 1900,
    //     tm.tm_mon + 1,
    //     tm.tm_mday,
    //     tm.tm_hour,
    //     tm.tm_min,
    //     tm.tm_sec);

    return 0;
}

void do_d1_get_time(const struct shell *sh, size_t argc, char **argv)
{
    struct timespec tp;
    struct tm       tm;
    char            buf[64];
    int             ret;

    clock_gettime(CLOCK_REALTIME, &tp);
    gmtime_r(&tp.tv_sec, &tm);

    ret = strftime(buf, sizeof(buf), "%Y-%m-%d %H:%M:%S", &tm);
    if (ret == 0) {
        LOG_WRN("Failed to format time");
        return;
    }

    shell_print(sh, "%s", buf);
}

void do_d1_set_time(const struct shell *sh, size_t argc, char **argv)
{
    if (argc < 2) {
        shell_print(sh, "Usage: %s <time>\n", argv[0]);
        return;
    }
    int ret = d1_set_5340_time(argv[1], true);
    if (ret != 0) {
        shell_print(sh, "Failed to set time\n");
    } else {
        shell_print(sh, "Time set\n");
    }
}

SHELL_STATIC_SUBCMD_SET_CREATE(
    sub_d1time,
    SHELL_CMD(get, NULL, "get current time", do_d1_get_time),
    SHELL_CMD(set, NULL, "set time with string", do_d1_set_time),
    SHELL_SUBCMD_SET_END);

SHELL_CMD_REGISTER(d1time, &sub_d1time, "Commands to test the d1_time", NULL);
```

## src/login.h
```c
/* Copyright (c) 2024, Nestle Purina Pet Care. All rights reserved */
#ifndef _LOGIN_H_
#define _LOGIN_H_

#include <stdbool.h>

/**
 * Initialize login subsys
 */
void login_init(void);

/**
 * log out current user and switch to login shell
 */
void logout(void);

/**
 * disable the nrf5340 console completely
 * @return false if the override gpio is set, otherwise true if the console has been disabled
 */
bool disable_console(void);
#endif
```

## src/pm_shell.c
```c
/* Copyright (c) 2024, Nestle Purina Pet Care. All rights reserved */
/*
 * Copyright 2024 Google LLC
 *
 * SPDX-License-Identifier: Apache-2.0
 */

#include <stdio.h>
#include <zephyr/shell/shell.h>
#include <zephyr/pm/device.h>
#include <zephyr/pm/device_runtime.h>

static void
device_name_get(size_t idx, struct shell_static_entry *entry)
{
    const struct device *dev = shell_device_lookup(idx, NULL);

    entry->syntax  = (dev != NULL) ? dev->name : NULL;
    entry->handler = NULL;
    entry->help    = NULL;
    entry->subcmd  = NULL;
}

SHELL_DYNAMIC_CMD_CREATE(dsub_device_name, device_name_get);

static int
pm_cmd_suspend(const struct shell *sh, size_t argc, char *argv[])
{
    const struct device *dev;
    int                  ret;

    dev = device_get_binding(argv[1]);
    if (dev == NULL) {
        shell_error(sh, "Invalid device: %s", argv[1]);
        return -ENODEV;
    }

    if (pm_device_runtime_is_enabled(dev)) {
        shell_error(sh, "Device %s uses runtime PM, use the runtime functions instead", dev->name);
        return -EINVAL;
    }

    ret = pm_device_action_run(dev, PM_DEVICE_ACTION_SUSPEND);
    if (ret < 0) {
        shell_error(sh, "Device %s error: %d", "suspend", ret);
        return ret;
    }

    return 0;
}

static int
pm_cmd_resume(const struct shell *sh, size_t argc, char *argv[])
{
    const struct device *dev;
    int                  ret;

    dev = device_get_binding(argv[1]);
    if (dev == NULL) {
        shell_error(sh, "Invalid device: %s", argv[1]);
        return -ENODEV;
    }

    if (pm_device_runtime_is_enabled(dev)) {
        shell_error(sh, "Device %s uses runtime PM, use the runtime functions instead", dev->name);
        return -EINVAL;
    }

    ret = pm_device_action_run(dev, PM_DEVICE_ACTION_RESUME);
    if (ret < 0) {
        shell_error(sh, "Device %s error: %d", "resume", ret);
        return ret;
    }

    return 0;
}

#if defined(CONFIG_PM_DEVICE_RUNTIME)
static int
pm_cmd_runtime_get(const struct shell *sh, size_t argc, char *argv[])
{
    const struct device *dev;
    int                  ret;

    dev = device_get_binding(argv[1]);
    if (dev == NULL) {
        shell_error(sh, "Invalid device: %s", argv[1]);
        return -ENODEV;
    }

    if (!pm_device_runtime_is_enabled(dev)) {
        shell_error(sh, "Device %s is not using runtime PM", dev->name);
        return -EINVAL;
    }

    ret = pm_device_runtime_get(dev);
    if (ret < 0) {
        shell_error(sh, "Device %s error: %d", "runtime get", ret);
        return ret;
    }

    return 0;
}

static int
pm_cmd_runtime_put(const struct shell *sh, size_t argc, char *argv[])
{
    const struct device *dev;
    int                  ret;

    dev = device_get_binding(argv[1]);
    if (dev == NULL) {
        shell_error(sh, "Invalid device: %s", argv[1]);
        return -ENODEV;
    }

    if (!pm_device_runtime_is_enabled(dev)) {
        shell_error(sh, "Device %s is not using runtime PM", dev->name);
        return -EINVAL;
    }

    ret = pm_device_runtime_put(dev);
    if (ret < 0) {
        shell_error(sh, "Device %s error: %d", "runtime put", ret);
        return ret;
    }

    return 0;
}

static int
pm_cmd_runtime_put_async(const struct shell *sh, size_t argc, char *argv[])
{
    const struct device *dev;
    int                  ret;

    dev = device_get_binding(argv[1]);
    if (dev == NULL) {
        shell_error(sh, "Invalid device: %s", argv[1]);
        return -ENODEV;
    }

    if (!pm_device_runtime_is_enabled(dev)) {
        shell_error(sh, "Device %s is not using runtime PM", dev->name);
        return -EINVAL;
    }

    ret = pm_device_runtime_put_async(dev);
    if (ret < 0) {
        shell_error(sh, "Device %s error: %d", "runtime put async", ret);
        return ret;
    }

    return 0;
}
#endif /* CONFIG_PM_DEVICE_RUNTIME */

SHELL_STATIC_SUBCMD_SET_CREATE(
    sub_pm_cmds,
    SHELL_CMD_ARG(suspend, &dsub_device_name, "Call the PM suspend action on a device", pm_cmd_suspend, 2, 0),
    SHELL_CMD_ARG(resume, &dsub_device_name, "Call the PM resume action on a device", pm_cmd_resume, 2, 0),
#if defined(CONFIG_PM_DEVICE_RUNTIME)
    SHELL_CMD_ARG(runtime - get, &dsub_device_name, "Call the PM runtime get on a device", pm_cmd_runtime_get, 2, 0),
    SHELL_CMD_ARG(runtime - put, &dsub_device_name, "Call the PM runtime put on a device", pm_cmd_runtime_put, 2, 0),
    SHELL_CMD_ARG(
        runtime - put - async, &dsub_device_name, "Call the PM runtime put async on a device", pm_cmd_runtime_put_async, 2, 0),
#endif /* CONFIG_PM_DEVICE_RUNTIME */
    SHELL_SUBCMD_SET_END);

SHELL_CMD_REGISTER(pm, &sub_pm_cmds, "PM commands", NULL);
```
